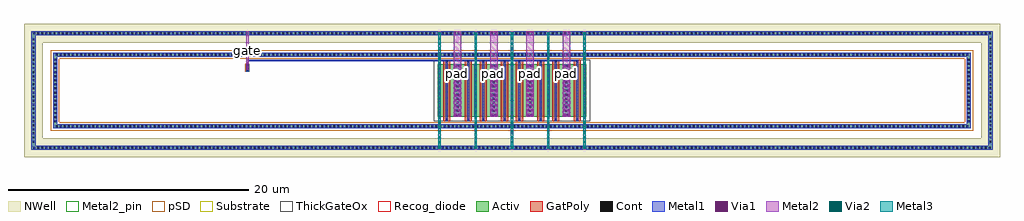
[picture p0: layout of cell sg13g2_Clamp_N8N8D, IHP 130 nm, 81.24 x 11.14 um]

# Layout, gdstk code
import gdstk
lib = gdstk.Library(unit=1e-6, precision=1e-09)
def R(c, l, rs):  # rectangles x0, y0, x1, y1
    for r in rs: c.add(gdstk.rectangle(r[:2], r[2:], *l))
def A(c, l, x, y, w, h, nx, ny, dx, dy):  # array of equal rectangles
    R(c, l, [(x+i*dx, y+j*dy, x+i*dx+w, y+j*dy+h) for i in range(nx) for j in range(ny)])
def P(c, l, *ps):  # polygons
    for p in ps: c.add(gdstk.Polygon(p, *l))
Activ = (1, 0)
GatPoly = (5, 0)
Cont = (6, 0)
Metal1 = (8, 0)
Metal2 = (10, 0)
Metal2_pin = (10, 2)
pSD = (14, 0)
Via1 = (19, 0)
Via2 = (29, 0)
Metal3 = (30, 0)
NWell = (31, 0)
Substrate = (40, 0)
ThickGateOx = (44, 0)
Recog_diode = (99, 31)

sg13g2_guardring_n16000w = lib.new_cell('sg13g2_GuardRing_N16000W1980HFF')
P(sg13g2_guardring_n16000w, Activ, [(-40,-4.95),(-40,4.61),(-39.66,4.61),(-39.66,-4.61),(39.66,-4.61),(39.66,4.61),(-40,4.61),(-40,4.95),(40,4.95),(40,-4.95)])
A(sg13g2_guardring_n16000w, Cont, -39.86, -4.86, 0.16, 0.16, 235, 2, 0.34, 9.56)
A(sg13g2_guardring_n16000w, Cont, -39.91, -4.33, 0.16, 0.16, 1, 26, 0, 0.34)
A(sg13g2_guardring_n16000w, Cont, 39.75, -4.33, 0.16, 0.16, 1, 26, 0, 0.34)
P(sg13g2_guardring_n16000w, Metal1, [(-40,-4.95),(-40,4.61),(-39.66,4.61),(-39.66,-4.61),(39.66,-4.61),(39.66,4.61),(-40,4.61),(-40,4.95),(40,4.95),(40,-4.95)])
P(sg13g2_guardring_n16000w, NWell, [(-40.62,-5.57),(-40.62,3.99),(-39.04,3.99),(-39.04,-3.99),(39.04,-3.99),(39.04,3.99),(-40.62,3.99),(-40.62,5.57),(40.62,5.57),(40.62,-5.57)])

sg13g2_guardring_p15280w = lib.new_cell('sg13g2_GuardRing_P15280W1260HFF')
P(sg13g2_guardring_p15280w, Activ, [(-38.2,-3.15),(-38.2,2.81),(-37.86,2.81),(-37.86,-2.81),(37.86,-2.81),(37.86,2.81),(-38.2,2.81),(-38.2,3.15),(38.2,3.15),(38.2,-3.15)])
A(sg13g2_guardring_p15280w, Cont, -37.99, -3.06, 0.16, 0.16, 224, 2, 0.34, 5.96)
A(sg13g2_guardring_p15280w, Cont, -38.11, -2.63, 0.16, 0.16, 1, 16, 0, 0.34)
A(sg13g2_guardring_p15280w, Cont, 37.95, -2.63, 0.16, 0.16, 1, 16, 0, 0.34)
P(sg13g2_guardring_p15280w, Metal1, [(-38.2,-3.15),(-38.2,2.81),(-37.86,2.81),(-37.86,-2.81),(37.86,-2.81),(37.86,2.81),(-38.2,2.81),(-38.2,3.15),(38.2,3.15),(38.2,-3.15)])
P(sg13g2_guardring_p15280w, pSD, [(-38.38,-3.33),(-38.38,2.63),(-37.68,2.63),(-37.68,-2.63),(37.68,-2.63),(37.68,2.63),(-38.38,2.63),(-38.38,3.33),(38.38,3.33),(38.38,-3.33)])
P(sg13g2_guardring_p15280w, Substrate, [(-38.2,-3.15),(-38.2,2.81),(-37.86,2.81),(-37.86,-2.81),(37.86,-2.81),(37.86,2.81),(-38.2,2.81),(-38.2,3.15),(38.2,3.15),(38.2,-3.15)])
sg13g2_guardring_p15280w.add(gdstk.Label('sub!', (-38.03,-2.98), layer=63, texttype=0))

sg13g2_clamp_n8n8d = lib.new_cell('sg13g2_Clamp_N8N8D')
R(sg13g2_clamp_n8n8d, Activ, [(33.81,2.75,46.19,7.15), (17.825,6.51,18.125,7.15)])
R(sg13g2_clamp_n8n8d, GatPoly, [(34.28,2.38,34.88,7.52), (36.06,2.38,36.66,7.52), (37.3,2.38,37.9,7.52), (39.08,2.38,39.68,7.52), (40.32,2.38,40.92,7.52), (42.1,2.38,42.7,7.52), (43.34,2.38,43.94,7.52), (45.12,2.38,45.72,7.52)])
A(sg13g2_clamp_n8n8d, Cont, 33.88, 2.83, 0.16, 0.16, 9, 13, 1.51, 0.34)
R(sg13g2_clamp_n8n8d, Cont, [(34.5,2.45,34.66,2.61), (36.28,2.45,36.44,2.61), (37.52,2.45,37.68,2.61), (39.3,2.45,39.46,2.61), (40.54,2.45,40.7,2.61), (42.32,2.45,42.48,2.61), (43.56,2.45,43.72,2.61), (45.34,2.45,45.5,2.61), (17.895,6.58,18.055,6.74), (17.895,6.92,18.055,7.08), (34.5,7.29,34.66,7.45), (36.28,7.29,36.44,7.45), (37.52,7.29,37.68,7.45), (39.3,7.29,39.46,7.45), (40.54,7.29,40.7,7.45), (42.32,7.29,42.48,7.45), (43.56,7.29,43.72,7.45), (45.34,7.29,45.5,7.45)])
A(sg13g2_clamp_n8n8d, Metal1, 33.855, 1.8, 0.21, 0.34, 5, 2, 3.02, 5.96)
A(sg13g2_clamp_n8n8d, Metal1, 33.855, 2.75, 0.21, 4.4, 5, 1, 3.02, 0)
A(sg13g2_clamp_n8n8d, Metal1, 35.16, 2.75, 0.62, 4.4, 4, 1, 3.02, 0)
P(sg13g2_clamp_n8n8d, Metal1, [(34.5,2.37),(34.5,7.37),(18.08,7.37),(18.08,6.5),(17.87,6.5),(17.87,7.53),(45.5,7.53),(45.5,2.37),(45.34,2.37),(45.34,7.37),(43.72,7.37),(43.72,2.37),(43.56,2.37),(43.56,7.37),(42.48,7.37),(42.48,2.37),(42.32,2.37),(42.32,7.37),(40.7,7.37),(40.7,2.37),(40.54,2.37),(40.54,7.37),(39.46,7.37),(39.46,2.37),(39.3,2.37),(39.3,7.37),(37.68,7.37),(37.68,2.37),(37.52,2.37),(37.52,7.37),(36.44,7.37),(36.44,2.37),(36.28,2.37),(36.28,7.37),(34.66,7.37),(34.66,2.37)])
A(sg13g2_clamp_n8n8d, Metal2, 33.86, 0, 0.2, 9.9, 5, 1, 3.02, 0)
A(sg13g2_clamp_n8n8d, Metal2, 35.165, 2.755, 0.61, 7.145, 4, 1, 3.02, 0)
R(sg13g2_clamp_n8n8d, Metal2, [(17.875,6.665,18.075,9.9)])
A(sg13g2_clamp_n8n8d, Metal2_pin, 35.165, 2.755, 0.61, 7.145, 4, 1, 3.02, 0)
R(sg13g2_clamp_n8n8d, Metal2_pin, [(17.875,6.665,18.075,9.9)])
A(sg13g2_clamp_n8n8d, Via1, 33.865, 1.875, 0.19, 0.19, 5, 2, 3.02, 5.96)
A(sg13g2_clamp_n8n8d, Via1, 33.865, 2.805, 0.19, 0.19, 1, 11, 0, 0.41)
A(sg13g2_clamp_n8n8d, Via1, 35.17, 2.805, 0.19, 0.19, 1, 11, 0, 0.41)
A(sg13g2_clamp_n8n8d, Via1, 35.58, 2.805, 0.19, 0.19, 3, 11, 1.305, 0.41)
A(sg13g2_clamp_n8n8d, Via1, 38.6, 2.805, 0.19, 0.19, 3, 11, 1.305, 0.41)
A(sg13g2_clamp_n8n8d, Via1, 41.62, 2.805, 0.19, 0.19, 3, 11, 1.305, 0.41)
A(sg13g2_clamp_n8n8d, Via1, 44.64, 2.805, 0.19, 0.19, 1, 11, 0, 0.41)
A(sg13g2_clamp_n8n8d, Via1, 45.945, 2.805, 0.19, 0.19, 1, 11, 0, 0.41)
R(sg13g2_clamp_n8n8d, Via1, [(17.88,6.715,18.07,6.905), (17.88,7.125,18.07,7.315)])
A(sg13g2_clamp_n8n8d, Via2, 33.865, 0.14, 0.19, 0.19, 5, 24, 3.02, 0.41)
A(sg13g2_clamp_n8n8d, Metal3, 33.86, 0.09, 0.2, 9.72, 5, 1, 3.02, 0)
R(sg13g2_clamp_n8n8d, ThickGateOx, [(33.47,2.41,46.53,7.49)])
R(sg13g2_clamp_n8n8d, Recog_diode, [(17.805,6.49,18.145,7.17)])
sg13g2_clamp_n8n8d.add(gdstk.Reference(sg13g2_guardring_n16000w, (40,4.95)))
sg13g2_clamp_n8n8d.add(gdstk.Reference(sg13g2_guardring_p15280w, (40,4.95)))
sg13g2_clamp_n8n8d.add(gdstk.Label('pad', (35.47,6.328), layer=10, texttype=25))
sg13g2_clamp_n8n8d.add(gdstk.Label('pad', (38.49,6.328), layer=10, texttype=25))
sg13g2_clamp_n8n8d.add(gdstk.Label('pad', (41.51,6.328), layer=10, texttype=25))
sg13g2_clamp_n8n8d.add(gdstk.Label('pad', (44.53,6.328), layer=10, texttype=25))
sg13g2_clamp_n8n8d.add(gdstk.Label('gate', (17.975,8.282), layer=10, texttype=25))

lib.write_gds('sg13g2_Clamp_N8N8D.gds')
